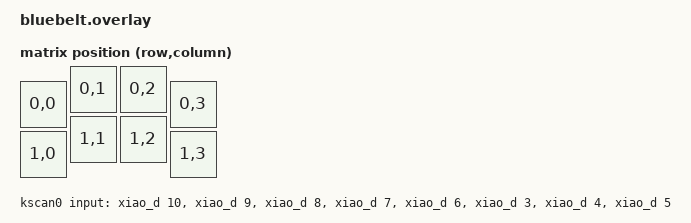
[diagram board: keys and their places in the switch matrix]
#include <dt-bindings/zmk/matrix_transform.h>

/ {
    chosen {
        zmk,kscan = &kscan0;
        zmk,matrix-transform = &transform0;
        zmk,physical-layout = &bluebelt_physical_layout;
    };

    kscan0: kscan {
        compatible = "zmk,kscan-gpio-direct";
        wakeup-source;
        debounce-press-ms = <10>;
        debounce-release-ms = <10>;
        input-gpios
            = <&xiao_d 10 (GPIO_ACTIVE_LOW | GPIO_PULL_UP)>
            , <&xiao_d 9 (GPIO_ACTIVE_LOW | GPIO_PULL_UP)>
            , <&xiao_d 8 (GPIO_ACTIVE_LOW | GPIO_PULL_UP)>
            , <&xiao_d 7 (GPIO_ACTIVE_LOW | GPIO_PULL_UP)>
            , <&xiao_d 6 (GPIO_ACTIVE_LOW | GPIO_PULL_UP)>
            , <&xiao_d 3 (GPIO_ACTIVE_LOW | GPIO_PULL_UP)>
            , <&xiao_d 4 (GPIO_ACTIVE_LOW | GPIO_PULL_UP)>
            , <&xiao_d 5 (GPIO_ACTIVE_LOW | GPIO_PULL_UP)>
            ;
    };

    transform0: keymap_transform {
        compatible = "zmk,matrix-transform";
        columns = <4>;
        rows = <2>;
        map = <
        RC(0,0)  RC(0,1)  RC(0,2)  RC(0,3)
        RC(1,0)  RC(1,1)  RC(1,2)  RC(1,3)
        >;
    };

    bluebelt_physical_layout: bluebelt_physical_layout {
        compatible = "zmk,physical-layout";
        display-name = "BlueBelt";
        transform = <&transform0>;
        kscan = <&kscan0>;
        keys  //                     w   h    x    y     rot    rx    ry
            = <&key_physical_attrs 100 100    0   30       0     0     0>
            , <&key_physical_attrs 100 100  100    0       0     0     0>
            , <&key_physical_attrs 100 100  200    0       0     0     0>
            , <&key_physical_attrs 100 100  300   30       0     0     0>
            , <&key_physical_attrs 100 100    0  130       0     0     0>
            , <&key_physical_attrs 100 100  100  100       0     0     0>
            , <&key_physical_attrs 100 100  200  100       0     0     0>
            , <&key_physical_attrs 100 100  300  130       0     0     0>
            ;
    };
};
